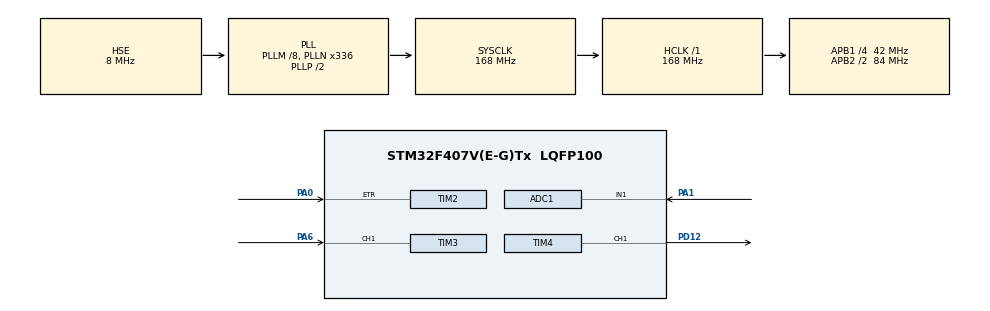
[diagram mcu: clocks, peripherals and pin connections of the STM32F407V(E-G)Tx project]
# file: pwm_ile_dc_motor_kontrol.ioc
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ADC1.Channel-0\#ChannelRegularConversion=ADC_CHANNEL_1
ADC1.ContinuousConvMode=ENABLE
ADC1.NbrOfConversionFlag=1
ADC1.Rank-0\#ChannelRegularConversion=1
ADC1.Resolution=ADC_RESOLUTION_12B
ADC1.SamplingTime-0\#ChannelRegularConversion=ADC_SAMPLETIME_56CYCLES
ADC1.ScanConvMode=ENABLE
ADC1.master=1
Mcu.Family=STM32F4
Mcu.Name=STM32F407V(E-G)Tx
Mcu.Package=LQFP100
NVIC.PriorityGroup=NVIC_PRIORITYGROUP_0
NVIC.TIM3_IRQn=true\:0\:0\:false\:false\:true\:true\:true\:true
PA0-WKUP.Signal=S_TIM2_CH1_ETR
PA1.Signal=ADCx_IN1
PA6.Signal=S_TIM3_CH1
PC14-OSC32_IN.Mode=LSE-External-Oscillator
PC14-OSC32_IN.Signal=RCC_OSC32_IN
PC15-OSC32_OUT.Mode=LSE-External-Oscillator
PC15-OSC32_OUT.Signal=RCC_OSC32_OUT
PD12.Signal=S_TIM4_CH1
PH0-OSC_IN.Mode=HSE-External-Oscillator
PH0-OSC_IN.Signal=RCC_OSC_IN
PH1-OSC_OUT.Mode=HSE-External-Oscillator
PH1-OSC_OUT.Signal=RCC_OSC_OUT
ProjectManager.HeapSize=0x200
ProjectManager.StackSize=0x400
ProjectManager.TargetToolchain=STM32CubeIDE
RCC.48MHZClocksFreq_Value=48000000
RCC.AHBFreq_Value=168000000
RCC.APB1CLKDivider=RCC_HCLK_DIV4
RCC.APB1Freq_Value=42000000
RCC.APB1TimFreq_Value=84000000
RCC.APB2CLKDivider=RCC_HCLK_DIV2
RCC.APB2Freq_Value=84000000
RCC.APB2TimFreq_Value=168000000
RCC.CortexFreq_Value=168000000
RCC.HCLKFreq_Value=168000000
RCC.HSE_VALUE=8000000
RCC.HSI_VALUE=16000000
RCC.PLLM=8
RCC.PLLN=336
RCC.PLLQ=7
RCC.PLLSourceVirtual=RCC_PLLSOURCE_HSE
RCC.SYSCLKFreq_VALUE=168000000
RCC.SYSCLKSource=RCC_SYSCLKSOURCE_PLLCLK
RCC.VCOOutputFreq_Value=336000000
SH.ADCx_IN1.0=ADC1_IN1,IN1
SH.S_TIM2_CH1_ETR.0=TIM2_ETR,TriggerSource_ETR
SH.S_TIM3_CH1.0=TIM3_CH1,Input_Capture1_from_TI1
SH.S_TIM4_CH1.0=TIM4_CH1,PWM Generation1 CH1
TIM2.Period=2000
TIM2.Slave_TriggerFilter=15
TIM3.Channel-Input_Capture1_from_TI1=TIM_CHANNEL_1
TIM3.ICFilter_CH1=15
TIM3.Period=10000
TIM3.Prescaler=1024
TIM4.Channel-PWM\ Generation1\ CH1=TIM_CHANNEL_1
TIM4.Period=99
TIM4.Prescaler=83
VP_TIM2_VS_ControllerModeClock.Mode=Clock Mode
VP_TIM3_VS_ClockSourceINT.Mode=Internal
board=STM32F407G-DISC1

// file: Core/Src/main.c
/* USER CODE BEGIN Header */
/**
  ******************************************************************************
  * @file           : main.c
  * @brief          : Main program body
  ******************************************************************************
  * @attention
  *
  * Copyright (c) 2023 STMicroelectronics.
  * All rights reserved.
  *
  * This software is licensed under terms that can be found in the LICENSE file
  * in the root directory of this software component.
  * If no LICENSE file comes with this software, it is provided AS-IS.
  *
  ******************************************************************************
  */
/* USER CODE END Header */
#include "main.h"

/* USER CODE BEGIN Includes */
// PID sabitleri
#define KP 0.5f
#define KI 0.2f
#define KD 0.1f
/* USER CODE END Includes */

ADC_HandleTypeDef hadc1;

TIM_HandleTypeDef htim2;
TIM_HandleTypeDef htim3;
TIM_HandleTypeDef htim4;

void SystemClock_Config(void);
static void MX_GPIO_Init(void);
static void MX_ADC1_Init(void);
static void MX_TIM4_Init(void);
static void MX_TIM3_Init(void);
static void MX_TIM2_Init(void);

/* USER CODE BEGIN 0 */
uint32_t adcVal;
uint32_t ADC_out;
uint32_t temp1;
uint32_t hole_number;
uint32_t hole_number_yedek=0;
uint32_t rpmSensor;
float error = 0;
float prev_error = 0;
float integral = 0;
float derivative = 0;
float output =0;
uint32_t duty_cycle=0;
uint32_t pid_out=0;

uint32_t ADC_Read(void)
{

	/*if(HAL_ADC_PollForConversion(&hadc1,100000)==HAL_OK)
	{
		adcVal = HAL_ADC_GetValue(&hadc1);
	}*/

	HAL_ADC_Start(&hadc1);
	HAL_ADC_PollForConversion(&hadc1, 1);
	adcVal= HAL_ADC_GetValue(&hadc1);
	//HAL_ADC_Stop(&hadc1);

	return adcVal;

}
uint32_t map(uint32_t A ,uint32_t B ,uint32_t C , uint32_t D ,uint32_t E)
{
	return (uint32_t)((A*(E-D))/C);
}

uint32_t rpmValue=0;

float PID_Control(uint32_t rpm , uint32_t sensorData)
{
	error = rpm - sensorData;

	//PID Calculating
	integral += error;
	derivative = error - prev_error;
	output = KP * error + KI * integral + KD * derivative;

	// Update Previsious Error
	prev_error = error;

	// Hız kontrolü için PWM sinyalini güncelle
	duty_cycle = (uint32_t)(output * 100.0f / 1000.0f);
	return duty_cycle;
}
void SysTick_Handler(void)
{

  /* USER CODE BEGIN SysTick_IRQn 0 */
//	hole_number_yedek=hole_number;
	/* USER CODE END SysTick_IRQn 0 */
  HAL_IncTick();
  /* USER CODE BEGIN SysTick_IRQn 1 */
  hole_number=__HAL_TIM_GET_COUNTER(&htim2);
 // temp1 = hole_number - hole_number_yedek;
  rpmSensor=(hole_number/20)*60;

  /* USER CODE END SysTick_IRQn 1 */
}

/* USER CODE END 0 */

int main(void)
{

  /* MCU Configuration--------------------------------------------------------*/

  /* Reset of all peripherals, Initializes the Flash interface and the Systick. */
  HAL_Init();

  /* Configure the system clock */
  SystemClock_Config();

  /* Initialize all configured peripherals */
  MX_GPIO_Init();
  MX_ADC1_Init();
  MX_TIM4_Init();
  MX_TIM3_Init();
  MX_TIM2_Init();
  /* USER CODE BEGIN 2 */
  HAL_TIM_Base_Start(&htim2);

  HAL_ADC_Start(&hadc1);
  HAL_TIM_PWM_Start(&htim4, TIM_CHANNEL_1);
  HAL_TIM_Base_Start_IT(&htim3);
  HAL_TIM_IC_Start(&htim3, TIM_CHANNEL_1);
  SysTick_Config(5*SystemCoreClock);
  __HAL_TIM_SetCompare(&htim4,TIM_CHANNEL_1,100);
  /* USER CODE END 2 */

  /* Infinite loop */
  /* USER CODE BEGIN WHILE */
  while (1)
  {

	  ADC_out=ADC_Read();
	  rpmValue = map(ADC_out, 0, 4095, 50,1000);
	  pid_out=PID_Control(rpmValue ,rpmSensor);
	  __HAL_TIM_SET_COUNTER(&htim2,0);

	  __HAL_TIM_SetCompare(&htim4,TIM_CHANNEL_1,pid_out);
    /* USER CODE END WHILE */

  }
}

void SystemClock_Config(void)
{
  RCC_OscInitTypeDef RCC_OscInitStruct = {0};
  RCC_ClkInitTypeDef RCC_ClkInitStruct = {0};

  /** Configure the main internal regulator output voltage
  */
  __HAL_RCC_PWR_CLK_ENABLE();
  __HAL_PWR_VOLTAGESCALING_CONFIG(PWR_REGULATOR_VOLTAGE_SCALE1);

  /** Initializes the RCC Oscillators according to the specified parameters
  * in the RCC_OscInitTypeDef structure.
  */
  RCC_OscInitStruct.OscillatorType = RCC_OSCILLATORTYPE_HSE;
  RCC_OscInitStruct.HSEState = RCC_HSE_ON;
  RCC_OscInitStruct.PLL.PLLState = RCC_PLL_ON;
  RCC_OscInitStruct.PLL.PLLSource = RCC_PLLSOURCE_HSE;
  RCC_OscInitStruct.PLL.PLLM = 8;
  RCC_OscInitStruct.PLL.PLLN = 336;
  RCC_OscInitStruct.PLL.PLLP = RCC_PLLP_DIV2;
  RCC_OscInitStruct.PLL.PLLQ = 7;
  if (HAL_RCC_OscConfig(&RCC_OscInitStruct) != HAL_OK)
  {
    Error_Handler();
  }

  /** Initializes the CPU, AHB and APB buses clocks
  */
  RCC_ClkInitStruct.ClockType = RCC_CLOCKTYPE_HCLK|RCC_CLOCKTYPE_SYSCLK
                              |RCC_CLOCKTYPE_PCLK1|RCC_CLOCKTYPE_PCLK2;
  RCC_ClkInitStruct.SYSCLKSource = RCC_SYSCLKSOURCE_PLLCLK;
  RCC_ClkInitStruct.AHBCLKDivider = RCC_SYSCLK_DIV1;
  RCC_ClkInitStruct.APB1CLKDivider = RCC_HCLK_DIV4;
  RCC_ClkInitStruct.APB2CLKDivider = RCC_HCLK_DIV2;

  if (HAL_RCC_ClockConfig(&RCC_ClkInitStruct, FLASH_LATENCY_5) != HAL_OK)
  {
    Error_Handler();
  }
}

static void MX_ADC1_Init(void)
{

  ADC_ChannelConfTypeDef sConfig = {0};

  /** Configure the global features of the ADC (Clock, Resolution, Data Alignment and number of conversion)
  */
  hadc1.Instance = ADC1;
  hadc1.Init.ClockPrescaler = ADC_CLOCK_SYNC_PCLK_DIV4;
  hadc1.Init.Resolution = ADC_RESOLUTION_12B;
  hadc1.Init.ScanConvMode = ENABLE;
  hadc1.Init.ContinuousConvMode = ENABLE;
  hadc1.Init.DiscontinuousConvMode = DISABLE;
  hadc1.Init.ExternalTrigConvEdge = ADC_EXTERNALTRIGCONVEDGE_NONE;
  hadc1.Init.ExternalTrigConv = ADC_SOFTWARE_START;
  hadc1.Init.DataAlign = ADC_DATAALIGN_RIGHT;
  hadc1.Init.NbrOfConversion = 1;
  hadc1.Init.DMAContinuousRequests = DISABLE;
  hadc1.Init.EOCSelection = ADC_EOC_SINGLE_CONV;
  if (HAL_ADC_Init(&hadc1) != HAL_OK)
  {
    Error_Handler();
  }

  /** Configure for the selected ADC regular channel its corresponding rank in the sequencer and its sample time.
  */
  sConfig.Channel = ADC_CHANNEL_1;
  sConfig.Rank = 1;
  sConfig.SamplingTime = ADC_SAMPLETIME_56CYCLES;
  if (HAL_ADC_ConfigChannel(&hadc1, &sConfig) != HAL_OK)
  {
    Error_Handler();
  }

}

static void MX_TIM2_Init(void)
{

  TIM_SlaveConfigTypeDef sSlaveConfig = {0};
  TIM_MasterConfigTypeDef sMasterConfig = {0};

  htim2.Instance = TIM2;
  htim2.Init.Prescaler = 0;
  htim2.Init.CounterMode = TIM_COUNTERMODE_UP;
  htim2.Init.Period = 2000;
  htim2.Init.ClockDivision = TIM_CLOCKDIVISION_DIV1;
  htim2.Init.AutoReloadPreload = TIM_AUTORELOAD_PRELOAD_DISABLE;
  if (HAL_TIM_Base_Init(&htim2) != HAL_OK)
  {
    Error_Handler();
  }
  sSlaveConfig.SlaveMode = TIM_SLAVEMODE_EXTERNAL1;
  sSlaveConfig.InputTrigger = TIM_TS_ETRF;
  sSlaveConfig.TriggerPolarity = TIM_TRIGGERPOLARITY_NONINVERTED;
  sSlaveConfig.TriggerPrescaler = TIM_TRIGGERPRESCALER_DIV1;
  sSlaveConfig.TriggerFilter = 15;
  if (HAL_TIM_SlaveConfigSynchro(&htim2, &sSlaveConfig) != HAL_OK)
  {
    Error_Handler();
  }
  sMasterConfig.MasterOutputTrigger = TIM_TRGO_RESET;
  sMasterConfig.MasterSlaveMode = TIM_MASTERSLAVEMODE_DISABLE;
  if (HAL_TIMEx_MasterConfigSynchronization(&htim2, &sMasterConfig) != HAL_OK)
  {
    Error_Handler();
  }

}

static void MX_TIM3_Init(void)
{

  TIM_ClockConfigTypeDef sClockSourceConfig = {0};
  TIM_MasterConfigTypeDef sMasterConfig = {0};
  TIM_IC_InitTypeDef sConfigIC = {0};

  htim3.Instance = TIM3;
  htim3.Init.Prescaler = 1024;
  htim3.Init.CounterMode = TIM_COUNTERMODE_UP;
  htim3.Init.Period = 10000;
  htim3.Init.ClockDivision = TIM_CLOCKDIVISION_DIV1;
  htim3.Init.AutoReloadPreload = TIM_AUTORELOAD_PRELOAD_DISABLE;
  if (HAL_TIM_Base_Init(&htim3) != HAL_OK)
  {
    Error_Handler();
  }
  sClockSourceConfig.ClockSource = TIM_CLOCKSOURCE_INTERNAL;
  if (HAL_TIM_ConfigClockSource(&htim3, &sClockSourceConfig) != HAL_OK)
  {
    Error_Handler();
  }
  if (HAL_TIM_IC_Init(&htim3) != HAL_OK)
  {
    Error_Handler();
  }
  sMasterConfig.MasterOutputTrigger = TIM_TRGO_RESET;
  sMasterConfig.MasterSlaveMode = TIM_MASTERSLAVEMODE_DISABLE;
  if (HAL_TIMEx_MasterConfigSynchronization(&htim3, &sMasterConfig) != HAL_OK)
  {
    Error_Handler();
  }
  sConfigIC.ICPolarity = TIM_INPUTCHANNELPOLARITY_RISING;
  sConfigIC.ICSelection = TIM_ICSELECTION_DIRECTTI;
  sConfigIC.ICPrescaler = TIM_ICPSC_DIV1;
  sConfigIC.ICFilter = 15;
  if (HAL_TIM_IC_ConfigChannel(&htim3, &sConfigIC, TIM_CHANNEL_1) != HAL_OK)
  {
    Error_Handler();
  }

}

static void MX_TIM4_Init(void)
{

  TIM_MasterConfigTypeDef sMasterConfig = {0};
  TIM_OC_InitTypeDef sConfigOC = {0};

  htim4.Instance = TIM4;
  htim4.Init.Prescaler = 83;
  htim4.Init.CounterMode = TIM_COUNTERMODE_UP;
  htim4.Init.Period = 99;
  htim4.Init.ClockDivision = TIM_CLOCKDIVISION_DIV1;
  htim4.Init.AutoReloadPreload = TIM_AUTORELOAD_PRELOAD_DISABLE;
  if (HAL_TIM_PWM_Init(&htim4) != HAL_OK)
  {
    Error_Handler();
  }
  sMasterConfig.MasterOutputTrigger = TIM_TRGO_RESET;
  sMasterConfig.MasterSlaveMode = TIM_MASTERSLAVEMODE_DISABLE;
  if (HAL_TIMEx_MasterConfigSynchronization(&htim4, &sMasterConfig) != HAL_OK)
  {
    Error_Handler();
  }
  sConfigOC.OCMode = TIM_OCMODE_PWM1;
  sConfigOC.Pulse = 0;
  sConfigOC.OCPolarity = TIM_OCPOLARITY_HIGH;
  sConfigOC.OCFastMode = TIM_OCFAST_DISABLE;
  if (HAL_TIM_PWM_ConfigChannel(&htim4, &sConfigOC, TIM_CHANNEL_1) != HAL_OK)
  {
    Error_Handler();
  }
  HAL_TIM_MspPostInit(&htim4);

}

static void MX_GPIO_Init(void)
{

  /* GPIO Ports Clock Enable */
  __HAL_RCC_GPIOC_CLK_ENABLE();
  __HAL_RCC_GPIOH_CLK_ENABLE();
  __HAL_RCC_GPIOA_CLK_ENABLE();
  __HAL_RCC_GPIOD_CLK_ENABLE();

}

/* USER CODE BEGIN 4 */

void HAL_TIM_IC_CaptureCallback(TIM_HandleTypeDef *htim)
{
	if(htim->Instance==TIM3)
	{
		temp1 += 1;
		if(temp1==20)
		{
			//capture_value=__HAL_TIM_GetCompare(&htim3,TIM_CHANNEL_1);
			temp1=0;
			__HAL_TIM_SetCounter(&htim3,0);
		}
	}
}

/* USER CODE END 4 */

void Error_Handler(void)
{
  __disable_irq();
  while (1)
  {
  }
}
